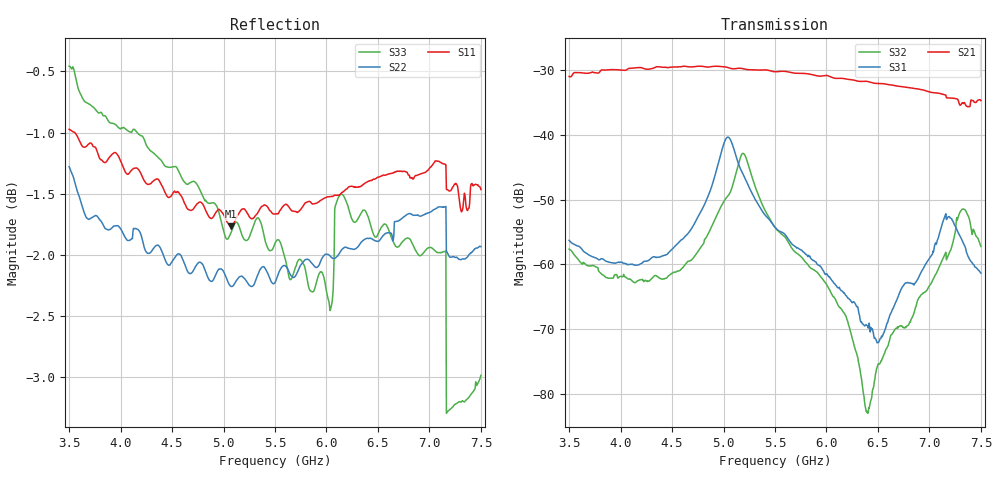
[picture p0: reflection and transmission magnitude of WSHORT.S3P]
!Agilent Technologies,E5071B,MY42403545,A.09.10
!Date: Thu Jul 11 07:03:44 2019
!Data & Calibration Information:
!Freq	S11:SOLT3(ON)	S12:SOLT3(ON)	S13:SOLT3(ON)
!	S21:SOLT3(ON)	S22:SOLT3(ON)	S23:SOLT3(ON)
!	S31:SOLT3(ON)	S32:SOLT3(ON)	S33:SOLT3(ON)
# Hz S dB R 50
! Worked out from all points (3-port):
!   801 points, 3.5 GHz to 7.5 GHz, reference 50 ohm
!   strongest paths, dB at 3.5 GHz, 4.5 GHz, 5.5 GHz, 6.5 GHz, 7.5 GHz:
!     S21: -31.0, -29.6, -30.3, -32.1, -34.7
!     S31: -56.3, -57.7, -54.3, -72.1, -61.4
!     S32: -57.7, -61.4, -54.3, -75.5, -57.2
!   lowest |S11| = -1.8 dB at 5.07 GHz (marker M1), VSWR 9.87, Z = 5.17 + j7.31 ohm
!   |S11| at or under -10 dB: nowhere
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3.5e9  -0.97 -66.9  -30.94 -165.3  -55.46 59.5
       -31.02 -164.0  -1.28 -72.8  -56.23 61.2
       -56.30 62.1  -57.66 69.9  -0.46 -11.6
4.545e9  -1.49 -151.6  -29.69 114.9  -55.95 -27.1
         -29.55 114.0  -2.00 -156.9  -66.76 -8.5
         -56.95 -17.5  -61.11 6.1  -1.29 -63.9
5.07e9  -1.77 163.2  -30.05 69.9  -40.58 -173.8
        -29.78 69.0  -2.26 157.2  -49.76 -96.2
        -40.87 -172.8  -48.71 -102.7  -1.82 -91.2
5.195e9  -1.62 152.0  -30.10 58.5  -45.99 132.5
         -29.84 58.8  -2.19 146.6  -43.29 -173.1
         -46.27 132.7  -42.91 -174.1  -1.87 -98.6
5.5e9  -1.67 126.3  -30.60 34.9  -53.75 74.4
       -30.28 35.0  -2.23 121.0  -54.47 80.9
       -54.27 75.7  -54.31 82.4  -1.90 -116.2
6.175e9  -1.47 71.0  -31.42 -15.1  -63.70 -15.0
         -31.35 -18.1  -1.94 65.6  -68.37 -22.0
         -64.49 -15.5  -67.59 -18.2  -1.53 -160.4
6.38e9  -1.41 55.0  -31.82 -30.6  -69.64 -59.6
        -31.76 -33.3  -1.87 49.5  -78.17 -158.4
        -69.37 -69.3  -82.18 -113.9  -1.64 -174.0
7.175e9  -1.47 -4.7  -33.92 -91.9  -51.92 52.4
         -34.32 -94.3  -1.98 -10.2  -57.04 90.0
         -52.86 51.1  -58.91 83.8  -3.28 129.1
7.325e9  -1.62 -16.7  -34.26 -102.1  -55.52 -8.8
         -35.07 -101.1  -2.03 -20.4  -51.24 42.7
         -56.56 -12.0  -51.47 43.1  -3.20 117.8
7.5e9  -1.47 -28.5  -34.41 -116.8  -60.29 -16.6
       -34.74 -120.1  -1.93 -32.9  -55.81 -10.4
       -61.35 -24.7  -57.24 -20.6  -2.99 104.5
